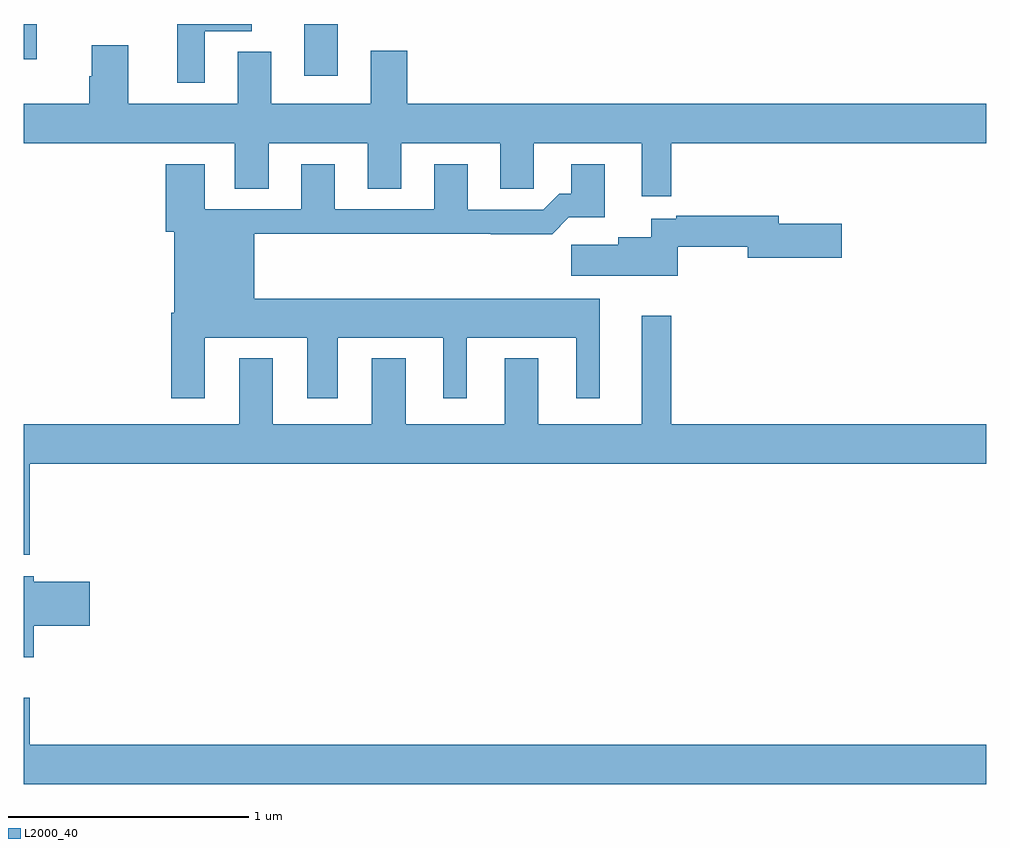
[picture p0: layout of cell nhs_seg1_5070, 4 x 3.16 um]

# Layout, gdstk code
import gdstk
lib = gdstk.Library(unit=1e-6, precision=1e-09)
def R(c, l, rs):  # rectangles x0, y0, x1, y1
    for r in rs: c.add(gdstk.rectangle(r[:2], r[2:], *l))
def P(c, l, *ps):  # polygons
    for p in ps: c.add(gdstk.Polygon(p, *l))
L2000_40 = (2000, 40)

nhs_seg1_5070 = lib.new_cell('nhs_seg1_5070')
R(nhs_seg1_5070, L2000_40, [(386.165,579.984,386.305,580.199), (385,580.052,385.053,580.199)])
P(nhs_seg1_5070, L2000_40, [(385.753,580.169),(385.948,580.169),(385.948,580.199),(385.637,580.199),(385.637,579.954),(385.753,579.954)],
  [(387.691,579.704),(389,579.704),(389,579.868),(386.594,579.868),(386.594,580.087),(386.441,580.087),(386.441,579.868),(386.029,579.868),(386.029,580.084),(385.889,580.084),(385.889,579.868),(385.435,579.868),(385.435,580.111),(385.283,580.111),(385.283,579.981),(385.271,579.981),(385.271,579.868),(385,579.868),(385,579.704),(385.877,579.704),(385.877,579.514),(386.017,579.514),(386.017,579.704),(386.429,579.704),(386.429,579.514),(386.569,579.514),(386.569,579.704),(386.981,579.704),(386.981,579.514),(387.12,579.514),(387.12,579.704),(387.569,579.704),(387.569,579.483),(387.691,579.483)],
  [(385.753,578.894),(386.177,578.894),(386.177,578.643),(386.305,578.643),(386.305,578.894),(386.744,578.894),(386.744,578.643),(386.842,578.643),(386.842,578.894),(387.296,578.894),(387.296,578.643),(387.394,578.643),(387.394,579.058),(385.957,579.058),(385.957,579.328),(386.941,579.328),(386.941,579.326),(387.197,579.326),(387.266,579.395),(387.415,579.395),(387.415,579.616),(387.275,579.616),(387.275,579.493),(387.226,579.493),(387.159,579.426),(386.845,579.426),(386.845,579.616),(386.705,579.616),(386.705,579.429),(386.293,579.429),(386.293,579.616),(386.153,579.616),(386.153,579.429),(385.753,579.429),(385.753,579.616),(385.589,579.616),(385.589,579.336),(385.625,579.336),(385.625,578.998),(385.613,578.998),(385.613,578.643),(385.753,578.643)],
  [(387.718,579.274),(388.01,579.274),(388.01,579.227),(388.399,579.227),(388.399,579.369),(388.138,579.369),(388.138,579.403),(387.712,579.403),(387.712,579.39),(387.608,579.39),(387.608,579.313),(387.47,579.313),(387.47,579.281),(387.276,579.281),(387.276,579.152),(387.718,579.152)],
  [(385.025,578.372),(389,578.372),(389,578.536),(387.691,578.536),(387.691,578.986),(387.569,578.986),(387.569,578.536),(387.139,578.536),(387.139,578.809),(386.999,578.809),(386.999,578.536),(386.587,578.536),(386.587,578.809),(386.447,578.809),(386.447,578.536),(386.035,578.536),(386.035,578.809),(385.895,578.809),(385.895,578.536),(385,578.536),(385,577.992),(385.025,577.992)],
  [(385.042,577.697),(385.273,577.697),(385.273,577.88),(385.042,577.88),(385.042,577.903),(385,577.903),(385,577.566),(385.042,577.566)],
  [(389,577.204),(385.025,577.204),(385.025,577.399),(385,577.399),(385,577.04),(389,577.04)])

lib.write_gds('nhs_seg1_5070.gds')
